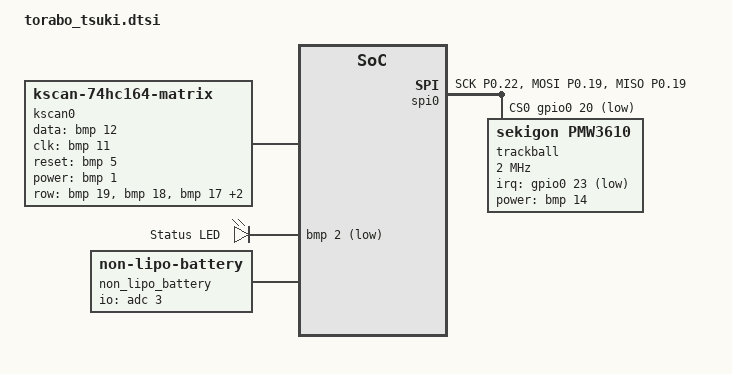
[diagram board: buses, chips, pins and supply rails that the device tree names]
#include <dt-bindings/zmk/matrix_transform.h>
#include "torabo_tsuki_layouts.dtsi"
#include "torabo_tsuki_behaviors.dtsi"

/ {
    chosen {
        zmk,physical-layout = &physical_layout_l;
        zmk,kscan = &kscan0;
        zmk,battery = &non_lipo_battery;
    };

    kscan0: kscan {
        compatible = "zmk,kscan-74hc164-matrix";

        wakeup-source;

        data-gpios = <&bmp 12 GPIO_ACTIVE_HIGH>;
        clk-gpios = <&bmp 11 GPIO_ACTIVE_HIGH>;
        reset-gpios = <&bmp 5 GPIO_ACTIVE_HIGH>;
        power-gpios = <&bmp 1 GPIO_ACTIVE_HIGH>;

        row-gpios
            = <&bmp 19 GPIO_ACTIVE_HIGH>,
            <&bmp 18 GPIO_ACTIVE_HIGH>,
            <&bmp 17 GPIO_ACTIVE_HIGH>,
            <&bmp 16 GPIO_ACTIVE_HIGH>,
            <&bmp 15 GPIO_ACTIVE_HIGH>
            ;

        rows = <5>;
        columns = <7>;
    };

    leds {
        compatible = "gpio-leds";
        status_led: status_led {
            gpios = <&bmp 2 GPIO_ACTIVE_LOW>;
            label = "Status LED";
        };
    };

    status_led_device: status_led_device {
        compatible = "zmk,status-led";
        led = <&status_led>;
    };

    bootloader_trigger: bootloader_trigger {
        compatible = "zmk,cdc-acm-bootloader-trigger";
    };

    trackball_listener: trackball_listener {
        compatible = "zmk,input-listener";
        device = <&trackball>;
    };

    vbatt: vbatt {
        // Disable default battery monitoring
        status = "disabled";
    };
    non_lipo_battery: non_lipo_battery {
        compatible = "zmk,non-lipo-battery";
        io-channels = <&adc 3>; 
    };

    nemu_link {
        compatible = "sekigon,nemu-link-radio";
    };
};

&pinctrl {
    spi0_default: spi0_default {
        group1 {
            psels = <NRF_PSEL(SPIM_SCK, 0, 22)>,
                <NRF_PSEL(SPIM_MOSI, 0, 19)>,
                <NRF_PSEL(SPIM_MISO, 0, 19)>;
        };
    };

    spi0_sleep: spi0_sleep {
        group1 {
            psels = <NRF_PSEL(SPIM_SCK, 0, 22)>,
                <NRF_PSEL(SPIM_MOSI, 0, 19)>,
                <NRF_PSEL(SPIM_MISO, 0, 19)>;
            low-power-enable;
        };
    };
};

&spi0 {
    status = "okay";
    compatible = "nordic,nrf-spim";
    pinctrl-0 = <&spi0_default>;
    pinctrl-1 = <&spi0_sleep>;
    pinctrl-names = "default", "sleep";
    cs-gpios = <&gpio0 20 GPIO_ACTIVE_LOW>;

    trackball: trackball@0 {
        status = "okay";
        compatible = "sekigon,pmw3610";
        reg = <0>;
        spi-max-frequency = <2000000>;
        irq-gpios = <&gpio0 23 (GPIO_ACTIVE_LOW | GPIO_PULL_UP)>;

        /*   optional features   */
        power-gpios = <&bmp 14 GPIO_ACTIVE_HIGH>;
        // snipe-layers = <1>;
        // scroll-layers = <2 3>;
        // automouse-layer = <1>;
    };
};

&code_partition {
    reg = <0x00026000 0x000b1000>;
};

&flash0 {
    partitions {
        nemu_link_key_partition: partition@d7000 {
            label = "nemu_link_key";
            reg = <0x000d7000 0x00001000>;
        };
    };
};
